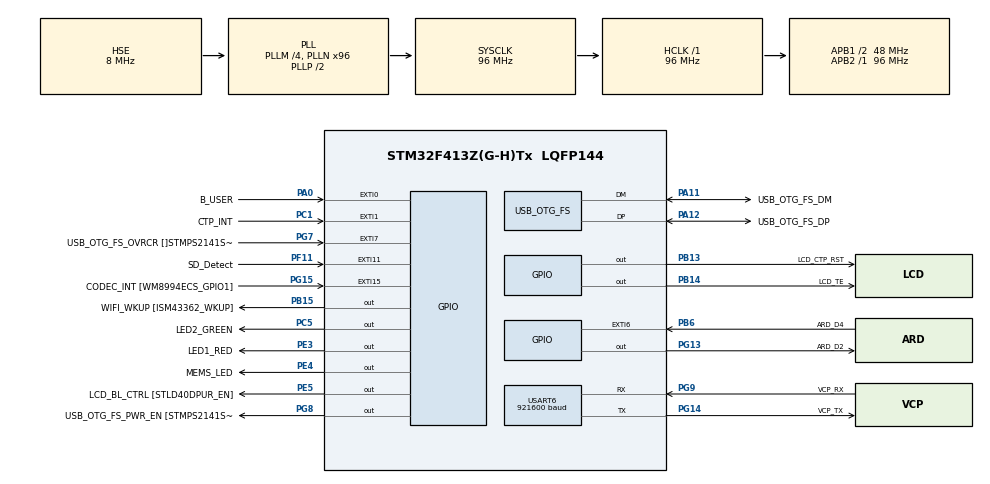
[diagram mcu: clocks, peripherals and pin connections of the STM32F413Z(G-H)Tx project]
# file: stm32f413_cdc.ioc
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Mcu.Family=STM32F4
Mcu.Name=STM32F413Z(G-H)Tx
Mcu.Package=LQFP144
NVIC.OTG_FS_IRQn=true\:0\:0\:false\:false\:true\:true\:true\:true
NVIC.PriorityGroup=NVIC_PRIORITYGROUP_4
PA0.GPIO_Label=B_USER
PA0.Signal=GPXTI0
PA1.GPIO_Label=ARD_A1
PA1.Signal=ADCx_IN1
PA10.GPIO_Label=USB_OTG_FS_ID
PA10.Signal=USB_OTG_FS_ID
PA11.GPIO_Label=USB_OTG_FS_DM
PA11.Mode=Device_Only
PA11.Signal=USB_OTG_FS_DM
PA12.GPIO_Label=USB_OTG_FS_DP
PA12.Mode=Device_Only
PA12.Signal=USB_OTG_FS_DP
PA13.GPIO_Label=STLINK_JTMS_SWDIO
PA13.Mode=Serial_Wire
PA13.Signal=SYS_JTMS-SWDIO
PA14.GPIO_Label=STLINK_JTMS_SWCLK
PA14.Mode=Serial_Wire
PA14.Signal=SYS_JTCK-SWCLK
PA15.GPIO_Label=ARD_D10
PA15.Signal=S_TIM2_CH1_ETR
PA2.GPIO_Label=ARD_A2
PA2.Signal=ADCx_IN2
PA3.GPIO_Label=CODEC_MCK [WM8994ECS_MCLK1]
PA3.Signal=I2S2_MCK
PA4.GPIO_Label=ARD_D8
PA4.Signal=COMP_DAC1_group
PA5.GPIO_Label=ARD_A3
PA5.Signal=ADCx_IN5
PA6.GPIO_Label=SD_CMD
PA6.Signal=SDIO_CMD
PA7.GPIO_Label=DFSDM2_DATIN1
PA7.Signal=S_DATAIN1DFSDM2
PA8.GPIO_Label=DFSDM1_CKOUT
PA8.Signal=S_CKOUTDFSDM1
PA9.GPIO_Label=USB_OTG_FS_VBUS
PA9.Signal=USB_OTG_FS_VBUS
PB0.GPIO_Label=ARD_D6
PB0.Signal=S_TIM3_CH3
PB1.GPIO_Label=ARD_A4
PB1.Signal=ADCx_IN9
PB10.GPIO_Label=ARD_D15
PB10.Signal=I2C2_SCL
PB11.GPIO_Label=ARD_D14
PB11.Signal=I2C2_SDA
PB12.GPIO_Label=ARD_D13 [ISM43362_SCK]
PB12.Signal=SPI3_SCK
PB13.GPIO_Label=LCD_CTP_RST
PB13.Signal=GPIO_Output
PB14.GPIO_Label=LCD_TE
PB14.Signal=GPIO_Output
PB15.GPIO_Label=WIFI_WKUP [ISM43362_WKUP]
PB15.Signal=GPIO_Output
PB2.GPIO_Label=QSPI_CLK [N25Q128A13EF840F_C]
PB2.Signal=QUADSPI_CLK
PB3.GPIO_Label=STLINK_JTDO_SWCLK
PB3.Signal=SYS_JTDO-SWO
PB4.GPIO_Label=ARD_D12 [ISM43362_MISO]
PB4.Signal=SPI3_MISO
PB5.GPIO_Label=ARD_D11 [ISM43362_MOSI]
PB5.Signal=SPI3_MOSI
PB6.GPIO_Label=ARD_D4
PB6.Signal=GPXTI6
PB7.GPIO_Label=DFSDM2_DATIN7
PB7.Signal=S_DATAIN7DFSDM2
PB8.GPIO_Label=ARD_D9
PB8.Signal=S_TIM4_CH3
PB9.GPIO_Label=CODEC_WS [WM8994ECS_LRCLK1]
PB9.Signal=I2S2_WS
PC0.GPIO_Label=ARD_A0
PC0.Signal=ADCx_IN10
PC1.GPIO_Label=CTP_INT
PC1.Signal=GPXTI1
PC10.GPIO_Label=SD_D2
PC10.Signal=SDIO_D2
PC11.GPIO_Label=SD_D3
PC11.Signal=SDIO_D3
PC12.GPIO_Label=SD_CLK
PC12.Signal=SDIO_CK
PC14-OSC32_IN.GPIO_Label=OSC32_IN
PC14-OSC32_IN.Signal=RCC_OSC32_IN
PC15-OSC32_OUT.GPIO_Label=OSC32_OUT
PC15-OSC32_OUT.Signal=RCC_OSC32_OUT
PC2.GPIO_Label=CODEC_ext_SD [WM8994ECS_ADC_DAT1]
PC2.Signal=I2S2_ext_SD
PC3.GPIO_Label=CODEC_SD [WM8994ECS_DACDAT1]
PC3.Signal=I2S2_SD
PC4.GPIO_Label=ARD_A5
PC4.Signal=ADCx_IN14
PC5.GPIO_Label=LED2_GREEN
PC5.Signal=GPIO_Output
PC6.GPIO_Label=I2CFMP1_SCL [WM8994ECS_CLK]
PC6.Signal=FMPI2C1_SCL
PC7.GPIO_Label=I2CFMP_SDA [WM8994ECS_SDA]
PC7.Signal=FMPI2C1_SDA
PC8.GPIO_Label=SD_D0
PC8.Signal=SDIO_D0
PC9.GPIO_Label=SD_D1
PC9.Signal=SDIO_D1
PD0.GPIO_Label=LCD_PSRAM_D2
PD0.Signal=FSMC_D2_DA2
PD1.GPIO_Label=LCD_PSRAM_D3
PD1.Signal=FSMC_D3_DA3
PD10.GPIO_Label=LCd_PSRAM_D15
PD10.Signal=FSMC_D15_DA15
PD11.GPIO_Label=PSRAM_A16 [IS66WV51216EBLL_A16]
PD11.Signal=FSMC_A16
PD12.GPIO_Label=PSRAM_A17 [IS66WV51216EBLL_A17]
PD12.Signal=FSMC_A17
PD13.GPIO_Label=QSPI_BK1_IO3 [N25Q128A13EF840F_DQ3]
PD13.Signal=QUADSPI_BK1_IO3
PD14.GPIO_Label=LCD_PSRAM_D0
PD14.Signal=FSMC_D0_DA0
PD15.GPIO_Label=LCD_PSRAM_D1
PD15.Signal=FSMC_D1_DA1
PD2.GPIO_Label=DFSDM2_CKOUT
PD2.Signal=S_CKOUTDFSDM2
PD3.GPIO_Label=CODEC_CK [WM8994ECS_BCLK1]
PD3.Signal=I2S2_CK
PD4.GPIO_Label=LCD_PSRAM_NOE
PD4.Signal=FSMC_NOE
PD5.GPIO_Label=LCD_PSRAM_NWE
PD5.Signal=FSMC_NWE
PD6.GPIO_Label=DFSDM1_DATIN1
PD6.Signal=S_DATAIN1DFSDM1
PD7.GPIO_Label=PSRAM_NE1 [IS66WV51216EBLL_CS1]
PD7.Signal=FSMC_NE1
PD8.GPIO_Label=LCD_PSRAM_D13
PD8.Signal=FSMC_D13_DA13
PD9.GPIO_Label=LCD_PSRAM_D14
PD9.Signal=FSMC_D14_DA14
PE0.GPIO_Label=PSRAM_NBL0 [IS66WV51216EBLL_LB]
PE0.Signal=FSMC_NBL0
PE1.GPIO_Label=PSRAM_NBL1 [IS66WV51216EBLL_UB]
PE1.Signal=FSMC_NBL1
PE10.GPIO_Label=LCD_PSRAM_D7
PE10.Signal=FSMC_D7_DA7
PE11.GPIO_Label=LCD_PSRAM_D8
PE11.Signal=FSMC_D8_DA8
PE12.GPIO_Label=LCD_PSRAM_D9
PE12.Signal=FSMC_D9_DA9
PE13.GPIO_Label=LCD_PSRAM_D10
PE13.Signal=FSMC_D10_DA10
PE14.GPIO_Label=LCD_PSRAM_D11
PE14.Signal=FSMC_D11_DA11
PE15.GPIO_Label=LCD_PSRAM_D12
PE15.Signal=FSMC_D12_DA12
PE2.GPIO_Label=QSPI_BK1_IO2 [N25Q128A13EF840F_DQ2]
PE2.Signal=QUADSPI_BK1_IO2
PE3.GPIO_Label=LED1_RED
PE3.Signal=GPIO_Output
PE4.GPIO_Label=MEMS_LED
PE4.Signal=GPIO_Output
PE5.GPIO_Label=LCD_BL_CTRL [STLD40DPUR_EN]
PE5.Signal=GPIO_Output
PE6.GPIO_Label=ARD_D5
PE6.Signal=S_TIM9_CH2
PE7.GPIO_Label=LCD_PSRAM_D4
PE7.Signal=FSMC_D4_DA4
PE8.GPIO_Label=LCD_PSRAM_D5
PE8.Signal=FSMC_D5_DA5
PE9.GPIO_Label=LCD_PSRAM_D6
PE9.Signal=FSMC_D6_DA6
PF0.GPIO_Label=PSRAM_A0 [IS66WV51216EBLL_A0]
PF0.Signal=FSMC_A0
PF1.GPIO_Label=PSRAM_A1 [IS66WV51216EBLL_A1]
PF1.Signal=FSMC_A1
PF10.GPIO_Label=ARD_D3
PF10.Signal=S_TIM5_CH4
PF11.GPIO_Label=SD_Detect
PF11.Signal=GPXTI11
PF12.GPIO_Label=PSRAM_A6 [IS66WV51216EBLL_A6]
PF12.Signal=FSMC_A6
PF13.GPIO_Label=PSRAM_A7 [IS66WV51216EBLL_A7]
PF13.Signal=FSMC_A7
PF14.GPIO_Label=PSRAM_A8 [IS66WV51216EBLL_A8]
PF14.Signal=FSMC_A8
PF15.GPIO_Label=PSRAM_A9 [IS66WV51216EBLL_A9]
PF15.Signal=FSMC_A9
PF2.GPIO_Label=PSRAM_A2 [IS66WV51216EBLL_A2]
PF2.Signal=FSMC_A2
PF3.GPIO_Label=PSRAM_A3 [IS66WV51216EBLL_A3]
PF3.Signal=FSMC_A3
PF4.GPIO_Label=PSRAM_A4 [IS66WV51216EBLL_A4]
PF4.Signal=FSMC_A4
PF5.GPIO_Label=PSRAM_A5 [IS66WV51216EBLL_A5]
PF5.Signal=FSMC_A5
PF6.GPIO_Label=ARD_D0
PF6.Signal=UART7_RX
PF7.GPIO_Label=ARD_D1
PF7.Signal=UART7_TX
PF8.GPIO_Label=QSPI_BK1_IO0 [N25Q128A13EF840F_DQ0]
PF8.Signal=QUADSPI_BK1_IO0
PF9.GPIO_Label=QSPI_BK1_IO1 [N25Q128A13EF840F_DQ1]
PF9.Signal=QUADSPI_BK1_IO1
PG0.GPIO_Label=PSRAM_A10 [IS66WV51216EBLL_A10]
PG0.Signal=FSMC_A10
PG1.GPIO_Label=PSRAM_A11 [IS66WV51216EBLL_A11]
PG1.Signal=FSMC_A11
PG10.GPIO_Label=LCD_NE3
PG10.Signal=FSMC_NE3
PG11.GPIO_Label=WIFI_SPI_CSN [ISM43362_SPI_CS]
PG11.Signal=UART10_RX
PG12.GPIO_Label=WIFI_DRDY [ISM43362_DRDY]
PG12.Signal=UART10_TX
PG13.GPIO_Label=ARD_D2
PG13.Signal=GPIO_Output
PG14.GPIO_Label=VCP_TX
PG14.Mode=Asynchronous
PG14.Signal=USART6_TX
PG15.GPIO_Label=CODEC_INT [WM8994ECS_GPIO1]
PG15.Signal=GPXTI15
PG2.GPIO_Label=PSRAM_A12 [IS66WV51216EBLL_A12]
PG2.Signal=FSMC_A12
PG3.GPIO_Label=PSRAM_A13 [IS66WV51216EBLL_A13]
PG3.Signal=FSMC_A13
PG4.GPIO_Label=PSRAM_A14 [IS66WV51216EBLL_A14]
PG4.Signal=FSMC_A14
PG5.GPIO_Label=PSRAM_A15 [IS66WV51216EBLL_A15]
PG5.Signal=FSMC_A15
PG6.GPIO_Label=QSPI_BK1_NCS [N25Q128A13EF840F_S]
PG6.Signal=QUADSPI_BK1_NCS
PG7.GPIO_Label=USB_OTG_FS_OVRCR []STMPS2141STR_FAULT]
PG7.Signal=GPXTI7
PG8.GPIO_Label=USB_OTG_FS_PWR_EN [STMPS2141STR_EN]
PG8.Signal=GPIO_Output
PG9.GPIO_Label=VCP_RX
PG9.Mode=Asynchronous
PG9.Signal=USART6_RX
PH0\ -\ OSC_IN.GPIO_Label=STLK_MCO
PH0\ -\ OSC_IN.Mode=HSE-External-Oscillator
PH0\ -\ OSC_IN.Signal=RCC_OSC_IN
PH1\ -\ OSC_OUT.Mode=HSE-External-Oscillator
PH1\ -\ OSC_OUT.Signal=RCC_OSC_OUT
ProjectManager.HeapSize=0x200
ProjectManager.StackSize=0x400
ProjectManager.TargetToolchain=CMake
RCC.AHBFreq_Value=96000000
RCC.APB1CLKDivider=RCC_HCLK_DIV2
RCC.APB1Freq_Value=48000000
RCC.APB1TimFreq_Value=96000000
RCC.APB2Freq_Value=96000000
RCC.APB2TimFreq_Value=96000000
RCC.CortexFreq_Value=96000000
RCC.HCLKFreq_Value=96000000
RCC.HSE_VALUE=8000000
RCC.PLLI2SM=12
RCC.PLLI2SN=50
RCC.PLLM=4
RCC.PLLN=96
RCC.PLLQ=4
RCC.PLLSourceVirtual=RCC_PLLSOURCE_HSE
RCC.SDIOCLockSelection=RCC_SDIOCLKSOURCE_SYSCLK
RCC.SYSCLKFreq_VALUE=96000000
RCC.SYSCLKSource=RCC_SYSCLKSOURCE_PLLCLK
RCC.USBFreq_Value=48000000
RCC.VCOOutputFreq_Value=192000000
SH.ADCx_IN1.0=ADC1_IN1
SH.ADCx_IN10.0=ADC1_IN10
SH.ADCx_IN14.0=ADC1_IN14
SH.ADCx_IN2.0=ADC1_IN2
SH.ADCx_IN5.0=ADC1_IN5
SH.ADCx_IN9.0=ADC1_IN9
SH.COMP_DAC1_group.0=DAC_OUT1
SH.FSMC_A0.0=FSMC_A0
SH.FSMC_A0.1=FSMC_A0
SH.FSMC_A1.0=FSMC_A1
SH.FSMC_A10.0=FSMC_A10
SH.FSMC_A11.0=FSMC_A11
SH.FSMC_A12.0=FSMC_A12
SH.FSMC_A13.0=FSMC_A13
SH.FSMC_A14.0=FSMC_A14
SH.FSMC_A15.0=FSMC_A15
SH.FSMC_A16.0=FSMC_A16
SH.FSMC_A17.0=FSMC_A17
SH.FSMC_A2.0=FSMC_A2
SH.FSMC_A3.0=FSMC_A3
SH.FSMC_A4.0=FSMC_A4
SH.FSMC_A5.0=FSMC_A5
SH.FSMC_A6.0=FSMC_A6
SH.FSMC_A7.0=FSMC_A7
SH.FSMC_A8.0=FSMC_A8
SH.FSMC_A9.0=FSMC_A9
SH.FSMC_D0_DA0.0=FSMC_D0
SH.FSMC_D0_DA0.1=FSMC_D0
SH.FSMC_D10_DA10.0=FSMC_D10
SH.FSMC_D10_DA10.1=FSMC_D10
SH.FSMC_D11_DA11.0=FSMC_D11
SH.FSMC_D11_DA11.1=FSMC_D11
SH.FSMC_D12_DA12.0=FSMC_D12
SH.FSMC_D12_DA12.1=FSMC_D12
SH.FSMC_D13_DA13.0=FSMC_D13
SH.FSMC_D13_DA13.1=FSMC_D13
SH.FSMC_D14_DA14.0=FSMC_D14
SH.FSMC_D14_DA14.1=FSMC_D14
SH.FSMC_D15_DA15.0=FSMC_D15
SH.FSMC_D15_DA15.1=FSMC_D15
SH.FSMC_D1_DA1.0=FSMC_D1
SH.FSMC_D1_DA1.1=FSMC_D1
SH.FSMC_D2_DA2.0=FSMC_D2
SH.FSMC_D2_DA2.1=FSMC_D2
SH.FSMC_D3_DA3.0=FSMC_D3
SH.FSMC_D3_DA3.1=FSMC_D3
SH.FSMC_D4_DA4.0=FSMC_D4
SH.FSMC_D4_DA4.1=FSMC_D4
SH.FSMC_D5_DA5.0=FSMC_D5
SH.FSMC_D5_DA5.1=FSMC_D5
SH.FSMC_D6_DA6.0=FSMC_D6
SH.FSMC_D6_DA6.1=FSMC_D6
SH.FSMC_D7_DA7.0=FSMC_D7
SH.FSMC_D7_DA7.1=FSMC_D7
SH.FSMC_D8_DA8.0=FSMC_D8
SH.FSMC_D8_DA8.1=FSMC_D8
SH.FSMC_D9_DA9.0=FSMC_D9
SH.FSMC_D9_DA9.1=FSMC_D9
SH.FSMC_NBL0.0=FSMC_NBL0
SH.FSMC_NBL1.0=FSMC_NBL1
SH.FSMC_NOE.0=FSMC_NOE
SH.FSMC_NOE.1=FSMC_NOE
SH.FSMC_NWE.0=FSMC_NWE
SH.FSMC_NWE.1=FSMC_NWE
SH.S_CKOUTDFSDM1.0=DFSDM1_CKOUT
SH.S_CKOUTDFSDM2.0=DFSDM2_CKOUT
SH.S_DATAIN1DFSDM1.0=DFSDM1_DATIN1
SH.S_DATAIN1DFSDM2.0=DFSDM2_DATIN1
SH.S_DATAIN7DFSDM2.0=DFSDM2_DATIN7
SH.S_TIM2_CH1_ETR.0=TIM2_CH1
SH.S_TIM3_CH3.0=TIM3_CH3
SH.S_TIM4_CH3.0=TIM4_CH3
SH.S_TIM5_CH4.0=TIM5_CH4
SH.S_TIM9_CH2.0=TIM9_CH2
USART6.BaudRate=921600
USART6.VirtualMode=VM_ASYNC
USB_DEVICE.CLASS_NAME_FS=CDC
USB_DEVICE.VirtualMode=Cdc
USB_DEVICE.VirtualModeFS=Cdc_FS
USB_OTG_FS.VirtualMode=Device_Only
VP_USB_DEVICE_VS_USB_DEVICE_CDC_FS.Mode=CDC_FS
board=STM32F413H-DISCO

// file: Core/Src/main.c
/* USER CODE BEGIN Header */
/**
  ******************************************************************************
  * @file           : main.c
  * @brief          : Main program body
  ******************************************************************************
  * @attention
  *
  * Copyright (c) 2025 STMicroelectronics.
  * All rights reserved.
  *
  * This software is licensed under terms that can be found in the LICENSE file
  * in the root directory of this software component.
  * If no LICENSE file comes with this software, it is provided AS-IS.
  *
  ******************************************************************************
  */
/* USER CODE END Header */
#include "main.h"
#include "stm32f4xx_hal_def.h"
#include "usart.h"
#include "usb_device.h"
#include "gpio.h"

/* USER CODE BEGIN Includes */
#include <stdio.h>
#include <string.h>
#include "usbd_cdc_if.h"

/* USER CODE END Includes */

void SystemClock_Config(void);

/* USER CODE BEGIN 0 */
int __io_putchar(int ch) {
  if (ch == '\n') {
    HAL_UART_Transmit(&huart6, (uint8_t *)"\r", 1, 0xFFFF);
  }
  HAL_UART_Transmit(&huart6, (uint8_t *)&ch, 1, 0xFFFF);
  return ch;
}

int __io_getchar(void) {
  HAL_StatusTypeDef status = HAL_BUSY;
  uint8_t data;
  while (status != HAL_OK) {
    status = HAL_UART_Receive(&huart6, &data, 1, 0xFFFF);
  }
  return data;
}

/* USER CODE END 0 */

int main(void)
{

  /* MCU Configuration--------------------------------------------------------*/

  /* Reset of all peripherals, Initializes the Flash interface and the Systick. */
  HAL_Init();

  /* Configure the system clock */
  SystemClock_Config();

  /* Initialize all configured peripherals */
  MX_GPIO_Init();
  MX_USART6_UART_Init();
  MX_USB_DEVICE_Init();
  /* USER CODE BEGIN 2 */
  int len, device;
  uint32_t t1 = 0, t2;
  uint32_t N = 100000;

  static uint8_t msg[] =
      "/*******10********20********30********40********50********60********70**"
      "******80********90*******100*******110*******120*******130*******140****"
      "***150*******160*******170*******180*******190*******200*******210******"
      "*220*******230*******240*******250*******260*******270*******280*******"
      "290*******300*******310*******320*******330*******340*******350*******"
      "360*******370*******380*******390*******400*******410*******420*******"
      "430*******440*******450*******460*******470*******480*******490*******"
      "500*******510*******520*******530*******540*******550*******560*******"
      "570*******580*******590*******600*******610*******620*******630*******"
      "640*******650*******660*******670*******680*******690*******700*******"
      "710*******720*******730*******740*******750*******760*******770*******"
      "780*******790*******800*******810*******820*******830*******840*******"
      "850*******860*******870*******880*******890*******900*******910*******"
      "920*******930*******940*******950*******960*******970*******980*******"
      "990******1000******1010******1020****";

  setvbuf(stdin, NULL, _IONBF, 0);
  /* USER CODE END 2 */

  /* Infinite loop */
  while (1)
  {

    scanf("%d", &device);
    printf("%d\n", device);
    scanf("%d", &len);
    printf("%d\n", len);
    scanf("%lu", &N);
    printf("%lu\n", N);

    if (device) {
      HAL_Delay(100);
      t1 = HAL_GetTick();
      for (uint32_t cnt = 0; cnt < N; ++cnt) {
        while (CDC_Transmit_FS(msg, len) != USBD_OK) {
        }
      }
      t2 = HAL_GetTick();
    } else {
      t1 = HAL_GetTick();
      for (uint32_t cnt = 0; cnt < N; ++cnt) {
        HAL_UART_Transmit(&huart6, msg, len, 0xFFFF);
      }
      t2 = HAL_GetTick();
    }

    uint32_t tmp = len * N * 8;
    uint32_t num = tmp / (t2 - t1);
    uint32_t frac = (tmp - num * (t2 - t1)) * 1000 / (t2 - t1);
    printf("TxRate: %lu.%03lu kbps (%lu ms)\n", num, frac, t2 - t1);
  }
}

void SystemClock_Config(void)
{
  RCC_OscInitTypeDef RCC_OscInitStruct = {0};
  RCC_ClkInitTypeDef RCC_ClkInitStruct = {0};

  /** Configure the main internal regulator output voltage
  */
  __HAL_RCC_PWR_CLK_ENABLE();
  __HAL_PWR_VOLTAGESCALING_CONFIG(PWR_REGULATOR_VOLTAGE_SCALE1);

  /** Initializes the RCC Oscillators according to the specified parameters
  * in the RCC_OscInitTypeDef structure.
  */
  RCC_OscInitStruct.OscillatorType = RCC_OSCILLATORTYPE_HSE;
  RCC_OscInitStruct.HSEState = RCC_HSE_ON;
  RCC_OscInitStruct.PLL.PLLState = RCC_PLL_ON;
  RCC_OscInitStruct.PLL.PLLSource = RCC_PLLSOURCE_HSE;
  RCC_OscInitStruct.PLL.PLLM = 4;
  RCC_OscInitStruct.PLL.PLLN = 96;
  RCC_OscInitStruct.PLL.PLLP = RCC_PLLP_DIV2;
  RCC_OscInitStruct.PLL.PLLQ = 4;
  RCC_OscInitStruct.PLL.PLLR = 2;
  if (HAL_RCC_OscConfig(&RCC_OscInitStruct) != HAL_OK)
  {
    Error_Handler();
  }

  /** Initializes the CPU, AHB and APB buses clocks
  */
  RCC_ClkInitStruct.ClockType = RCC_CLOCKTYPE_HCLK|RCC_CLOCKTYPE_SYSCLK
                              |RCC_CLOCKTYPE_PCLK1|RCC_CLOCKTYPE_PCLK2;
  RCC_ClkInitStruct.SYSCLKSource = RCC_SYSCLKSOURCE_PLLCLK;
  RCC_ClkInitStruct.AHBCLKDivider = RCC_SYSCLK_DIV1;
  RCC_ClkInitStruct.APB1CLKDivider = RCC_HCLK_DIV2;
  RCC_ClkInitStruct.APB2CLKDivider = RCC_HCLK_DIV1;

  if (HAL_RCC_ClockConfig(&RCC_ClkInitStruct, FLASH_LATENCY_3) != HAL_OK)
  {
    Error_Handler();
  }
}

void Error_Handler(void)
{
  __disable_irq();
  while (1)
  {
  }
}
